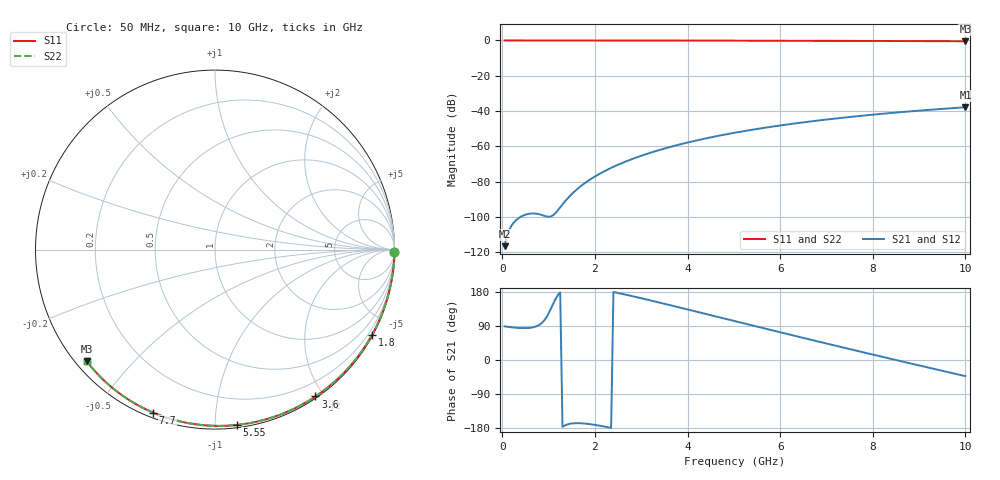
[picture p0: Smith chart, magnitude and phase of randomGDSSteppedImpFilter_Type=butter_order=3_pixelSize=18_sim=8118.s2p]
! freq	dB(S11)	phase(S11)	dB(S12)	phase(S12)
!  dB(S21)	phase(S21)	dB(S22)	phase(S22)
!S-par simulation data
#  GHz  S  DB  R 50
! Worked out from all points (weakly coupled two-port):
!   200 points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, 50 MHz to 10 GHz, reference 50 ohm
!   highest |S21| = -37.87 dB at 10 GHz (marker M1); lowest = -116.6 dB at 50 MHz (marker M2)
!   lowest |S11| = -0.5 dB at 10 GHz (marker M3), VSWR 37.21, Z = 1.53 - j18.7 ohm
!   |S11| at or under -10 dB: nowhere
!   |S22| runs from -0.5 to 0.0 dB; largest |S21 - S12| = 0
!   S11 on the Smith chart (normalised r, x): 50 MHz: open; 1.8 GHz: 0.03, -3.94; 3.6 GHz: 0.02, -1.90; 5.55 GHz: 0.02, -1.13; 7.7 GHz: 0.02, -0.69; 10 GHz: 0.03, -0.37
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0.05  -0.00 -0.8  -116.61 89.0  -116.61 89.0  -0.00 -0.8
0.45  -0.01 -7.2  -99.26 84.1  -99.26 84.1  -0.01 -7.2
0.9  -0.02 -14.4  -99.33 103.5  -99.33 103.5  -0.02 -14.4
1.75  -0.04 -27.7  -81.49 -167.4  -81.49 -167.4  -0.04 -27.7
1.8  -0.04 -28.5  -80.53 -167.9  -80.53 -167.9  -0.04 -28.5
1.85  -0.04 -29.3  -79.62 -168.6  -79.62 -168.6  -0.04 -29.3
2.05  -0.04 -32.3  -76.34 -172.2  -76.34 -172.2  -0.04 -32.3
2.25  -0.05 -35.4  -73.51 -176.7  -73.51 -176.7  -0.05 -35.4
2.55  -0.05 -40.0  -69.87 175.6  -69.87 175.6  -0.05 -40.0
2.95  -0.06 -46.0  -65.82 164.5  -65.82 164.5  -0.06 -46.0
3.4  -0.07 -52.7  -62.03 151.3  -62.03 151.3  -0.07 -52.7
3.6  -0.07 -55.6  -60.54 145.4  -60.54 145.4  -0.07 -55.6
3.9  -0.08 -60.0  -58.50 136.4  -58.50 136.4  -0.08 -60.0
4.3  -0.09 -65.7  -56.06 124.4  -56.06 124.4  -0.09 -65.7
5.05  -0.12 -76.2  -52.17 101.7  -52.17 101.7  -0.12 -76.2
5.55  -0.14 -83.0  -49.96 86.7  -49.96 86.7  -0.14 -83.0
6.1  -0.16 -90.3  -47.82 70.2  -47.82 70.2  -0.16 -90.3
6.7  -0.19 -98.1  -45.76 52.4  -45.76 52.4  -0.19 -98.1
7.7  -0.25 -110.8  -42.84 23.0  -42.84 23.0  -0.25 -110.8
8.35  -0.30 -118.8  -41.22 4.2  -41.22 4.2  -0.30 -118.8
9.2  -0.38 -129.2  -39.37 -20.0  -39.37 -20.0  -0.38 -129.2
10  -0.47 -138.9  -37.87 -42.6  -37.87 -42.6  -0.47 -138.9
